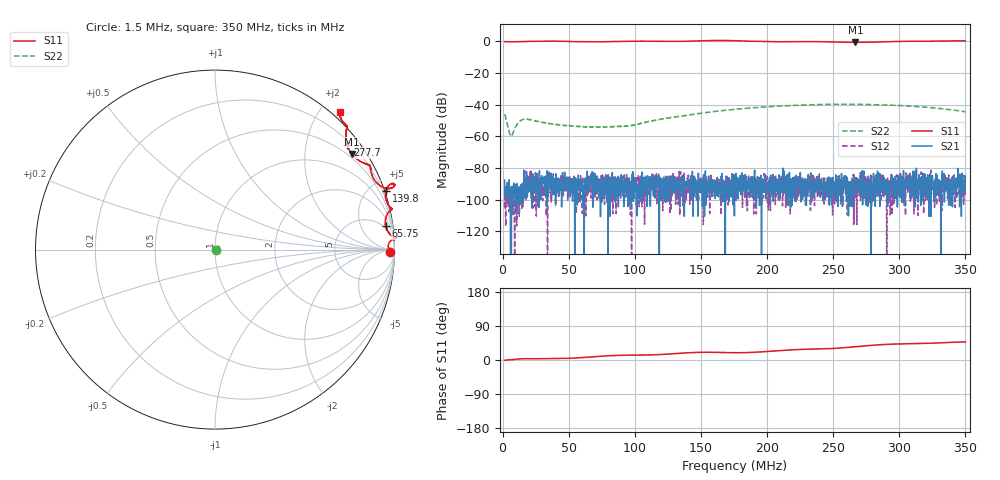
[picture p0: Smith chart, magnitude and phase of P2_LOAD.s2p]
# Hz S RI R 50
! RAW DATA - UNCALIBRATED
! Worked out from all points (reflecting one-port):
!   1601 points, 1.5 MHz to 350 MHz, reference 50 ohm
!   lowest |S11| = -0.6 dB at 266.8 MHz (marker M1), VSWR 27.62, Z = 19.8 + j156 ohm
!   phase of S11 starts at -1 deg and turns +49 deg over the sweep
!   S11 on the Smith chart (normalised r, x): 1.5 MHz: 64, -36; 65.75 MHz: 4, +13; 139.8 MHz: -0.12, +6.00; 277.7 MHz: 0.29, +2.85; 350 MHz: -0.11, +2.25
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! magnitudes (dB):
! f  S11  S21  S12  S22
! 1.5 MHz  -0.2  -87.7  -105.0  -46.1
! 2.807 MHz  -0.2  -91.9  -96.1  -49.9
! 5.203 MHz  -0.3  -102.1  -97.7  -58.0
! 6.51 MHz  -0.3  -184.4  -107.1  -60.0
! 7.599 MHz  -0.3  -102.9  -103.6  -58.5
! 10.21 MHz  -0.3  -102.8  -107.6  -53.4
! 11.96 MHz  -0.2  -92.6  -102.6  -51.3
! 14.35 MHz  -0.1  -99.2  -95.6  -49.8
! 16.53 MHz  0.0  -89.5  -89.4  -49.3
! 38.53 MHz  0.1  -95.8  -95.3  -52.3
! 59.66 MHz  -0.3  -87.4  -89.3  -54.0
! 65.75 MHz  -0.4  -93.7  -92.4  -54.2
! 95.81 MHz  0.1  -86.3  -95.6  -53.4
! 117.8 MHz  0.0  -92.3  -86.6  -49.5
! 139.8 MHz  0.1  -88.9  -87.7  -46.7
! 175.8 MHz  0.4  -94.4  -89.7  -43.0
! 233.9 MHz  -0.2  -87.5  -92.0  -40.1
! 266.8 MHz  -0.6  -88.8  -94.8  -39.8
! 277.7 MHz  -0.5  -94.6  -99.7  -39.9
! 292.1 MHz  -0.2  -99.1  -101.7  -40.3
! 322.1 MHz  0.1  -86.6  -89.3  -41.8
! 350 MHz  0.3  -85.3  -88.9  -44.6
